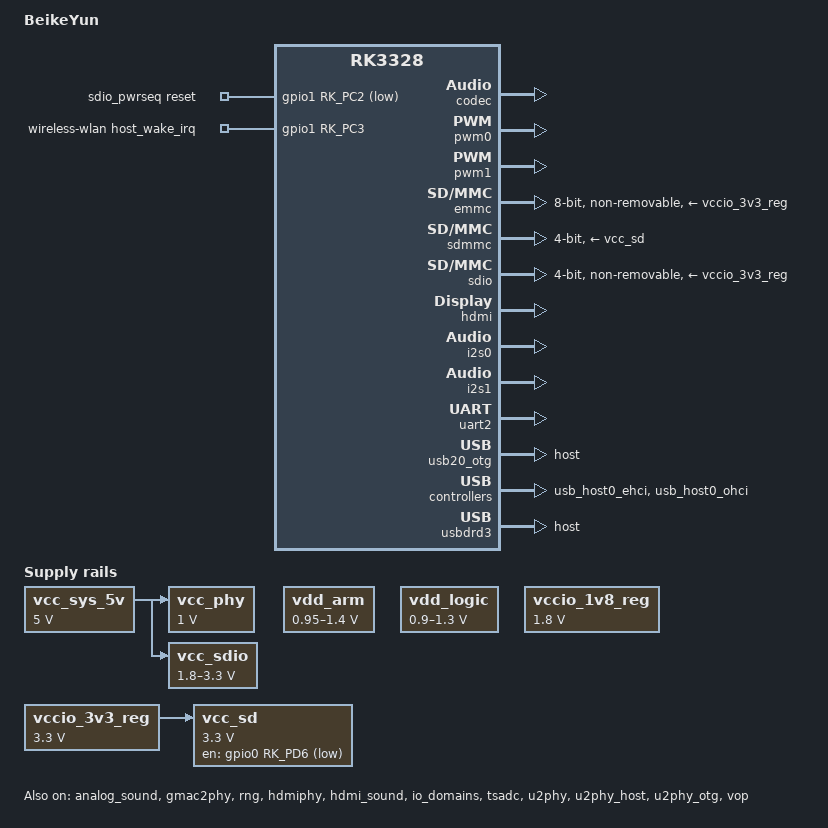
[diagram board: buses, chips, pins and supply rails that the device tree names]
// SPDX-License-Identifier: (GPL-2.0+ OR MIT)
/*
 * Copyright (c) 2017 PINE64
 */

/dts-v1/;
#include "rk3328.dtsi"

/ {
	model = "BeikeYun";
	compatible = "pine64,rock64", "rockchip,rk3328";

 	aliases {
		mmc0 = &emmc;
		mmc1 = &sdmmc;
		// mmc2 = &sdio; // WIFI
	};

	chosen {
		bootargs = "earlycon=uart8250,mmio32,0xff130000";
		stdout-path = "serial2:1500000n8";
	};

	/*
	leds {
		status = "okay";
		compatible = "gpio-leds";
		red-led {
			label = "red_led";
			gpios = <&gpio2 RK_PD2 GPIO_ACTIVE_HIGH>;
			linux,default-trigger = "mmc0";
			default-state = "on";
		};
		white-led {
			label = "white_led";
			gpios = <&gpio2 RK_PC7 GPIO_ACTIVE_HIGH>;
			linux,default-trigger = "none";
			default-state = "on";
		};
	};
	*/

	/*
	gmac_clkin: external-gmac-clock {
		compatible = "fixed-clock";
		clock-frequency = <125000000>;
		clock-output-names = "gmac_clkin";
		#clock-cells = <0>;
	};
	*/

	sdio_pwrseq: sdio-pwrseq {
		compatible = "mmc-pwrseq-simple";
		pinctrl-names = "default";
		pinctrl-0 = <&wifi_enable_h>;
		// pinctrl-0 = <&wifi_en>, <&wifi_host_wake>;
		reset-gpios = <&gpio1 RK_PC2 GPIO_ACTIVE_LOW>;
		// reset-gpios = <0xc7 0x12 0x00>;	// WIFI,poweren_gpio
	};

	/*
	vcc_sys_12v: vcc-sys-12v-regulator {
		compatible = "regulator-fixed";
		regulator-name = "vcc_sys_12v";
		regulator-min-microvolt = <12000000>;
		regulator-max-microvolt = <12000000>;
		regulator-always-on;
		regulator-boot-on;
	};
	*/

	vcc_sys_5v: vcc-sys-5v-regulator {
		compatible = "regulator-fixed";
		regulator-name = "vcc_sys_5v";
		regulator-min-microvolt = <5000000>;
		regulator-max-microvolt = <5000000>;
		regulator-always-on;
		regulator-boot-on;
		// vin-supply = <&vcc_sys_12v>;
	};

	vcc_phy: vcc-phy-regulator {
		compatible = "regulator-fixed";
		regulator-name = "vcc_phy";
		regulator-min-microvolt = <1000000>;
		regulator-max-microvolt = <1000000>;
		regulator-always-on;
		regulator-boot-on;
		vin-supply = <&vcc_sys_5v>;
	};

	vdd_arm: vdd-center {
		compatible = "pwm-regulator";
		rockchip,pwm_id = <0>;
		rockchip,pwm_voltage = <1250000>;
		pwms = <&pwm0 0 5000 1>;
		regulator-name = "vcc_arm";
		regulator-min-microvolt = <950000>;
		regulator-max-microvolt = <1400000>;
		regulator-settling-time-up-us = <250>;
		regulator-ramp-delay = <12500>;
		regulator-always-on;
		regulator-boot-on;
	};

	vdd_logic: vdd-log {
		compatible = "pwm-regulator";
		rockchip,pwm_id = <1>;
		rockchip,pwm_voltage = <1100000>;
		pwms = <&pwm1 0 5000 1>;
		regulator-name = "vcc_log";
		regulator-min-microvolt = <900000>;
		regulator-max-microvolt = <1300000>;
		regulator-settling-time-up-us = <250>;
		regulator-ramp-delay = <12500>;
		regulator-always-on;
		regulator-boot-on;
	};

	vcc_sdio: sdmmcio-regulator {
		compatible = "regulator-gpio";
		gpios = <&grf_gpio 0 GPIO_ACTIVE_HIGH>;
		states = <1800000 0x1>,
			 <3300000 0x0>;
		regulator-name = "vcc_sdio";
		regulator-type = "voltage";
		regulator-min-microvolt = <1800000>;
		regulator-max-microvolt = <3300000>;
		regulator-always-on;
		vin-supply = <&vcc_sys_5v>;
	};

	vcc_sd: sdmmc-regulator {
		compatible = "regulator-fixed";
		gpio = <&gpio0 RK_PD6 GPIO_ACTIVE_LOW>;
		pinctrl-names = "default";
		pinctrl-0 = <&sdmmc0m1_pin>;
		regulator-boot-on;
		regulator-name = "vcc_sd";
		regulator-min-microvolt = <3300000>;
		regulator-max-microvolt = <3300000>;
		vin-supply = <&vccio_3v3_reg>;
	};

	regulators {
		compatible = "simple-bus";
		#address-cells = <1>;
		#size-cells = <0>;

		vccio_1v8_reg: regulator@0 {
			compatible = "regulator-fixed";
			regulator-name = "vccio_1v8";
			regulator-min-microvolt = <1800000>;
			regulator-max-microvolt = <1800000>;
			regulator-always-on;
		};

		vccio_3v3_reg: regulator@1 {
			compatible = "regulator-fixed";
			regulator-name = "vccio_3v3";
			regulator-min-microvolt = <3300000>;
			regulator-max-microvolt = <3300000>;
			regulator-always-on;
		};
	};

	wireless-wlan {
		compatible = "wlan-platdata";
		wifi_chip_type = "rtl8189es";
		// sdio_vref = <1800>;
		rockchip,grf = <&grf>;
		// WIFI,poweren_gpio = <0xc7 0x12 0x00>;
		// WIFI,host_wake_irq = <0xc7 0x13 0x00>;
		// WIFI,poweren_gpio = <&gpio1 RK_PC2 GPIO_ACTIVE_HIGH>;
		WIFI,host_wake_irq = <&gpio1 RK_PC3 GPIO_ACTIVE_HIGH>;
		status = "okay";
	};
};

&analog_sound {
	status = "okay";
};

&codec {
	status = "okay";
};

&cpu0 {
	cpu-supply = <&vdd_arm>;
};

&cpu1 {
	cpu-supply = <&vdd_arm>;
};

&cpu2 {
	cpu-supply = <&vdd_arm>;
};

&cpu3 {
	cpu-supply = <&vdd_arm>;
};

&pwm0 {
	status = "okay";
};

&pwm1 {
	status = "okay";
};

&emmc {
	max-frequency = <150000000>;
	bus-width = <8>;
	cap-mmc-highspeed;
	mmc-hs200-1_8v;
	non-removable;
	num-slots = <1>;
	pinctrl-names = "default";
	pinctrl-0 = <&emmc_clk &emmc_cmd &emmc_bus8>;
	vmmc-supply = <&vccio_3v3_reg>;
	vqmmc-supply = <&vccio_1v8_reg>;
	status = "okay";
};

&sdmmc {
	bus-width = <4>;
	cap-mmc-highspeed;
	cap-sd-highspeed;
	disable-wp;
	max-frequency = <150000000>;
	num-slots = <1>;
	pinctrl-names = "default";
	pinctrl-0 = <&sdmmc0_clk &sdmmc0_cmd &sdmmc0_dectn &sdmmc0_bus4>;
	supports-sd;
	sd-uhs-sdr12;
	sd-uhs-sdr25;
	sd-uhs-sdr50;
	sd-uhs-sdr104;
	vmmc-supply = <&vcc_sd>;
	vqmmc-supply = <&vcc_sdio>;
	status = "okay";
};

/*
// SDIO控制器配置
&sdio {
	status = "okay";
	#address-cells = <1>;
	#size-cells = <0>;
	pinctrl-names = "default", "idle";
	pinctrl-0 = <&sdmmc0_clk &sdmmc0_cmd &sdmmc0_dectn &sdmmc0_bus4>;
	pinctrl-1 = <&sdmmc0_idle>;
	clocks = <&cru HCLK_SDMMC>, <&cru SCLK_SDMMC>;
	clock-names = "biu", "ciu";
	clock-frequency = <100000000>;
	max-frequency = <100000000>;
	bus-width = <4>;
	cap-sd-highspeed;
	cap-sdio-irq;
	keep-power-in-suspend;
	mmc-pwrseq = <&sdio_pwrseq>;
	non-removable;
	no-sd;
	no-mmc;
	supports-sdio;
	ignore-pm-notify;
	supports-UHS_SDR104;
	sdio_vref = <1800>;	// 1.8V

	// RTL8189ETV-CG设备节点
	rtl8189etv: wifi@1 {
		compatible = "realtek,rtl8189es";
		reg = <1>;
		interrupt-parent = <&gpio0>;
		interrupts = <19 IRQ_TYPE_EDGE_RISING>;  // WIFI,host_wake_irq
		interrupt-names = "host-wake";
	};
};
*/

&sdio {
	status = "okay";
	// #address-cells = <1>;
	// #size-cells = <0>;
	pinctrl-names = "default";
	// pinctrl-0 = <&sdmmc0_clk &sdmmc0_cmd &sdmmc0_dectn &sdmmc0_bus4>;
	// pinctrl-0 = <&sdmmc1_bus4 &sdmmc1_cmd &sdmmc1_clk>;
	pinctrl-0 = <&sdmmc1_cmd &sdmmc1_clk &sdmmc1_dectn &sdmmc1_bus4>;
	pinctrl-1 = <&sdmmc1_pins>;
	// clocks = <&cru HCLK_SDMMC>, <&cru SCLK_SDMMC>;
	// clock-names = "biu", "ciu";
	clock-frequency = <100000000>;
	max-frequency = <100000000>;
	bus-width = <4>;
	cap-sd-highspeed;
	cap-sdio-irq;
	disable-wp;
	keep-power-in-suspend;
	// mmc-pwrseq = <&sdio_pwrseq>;
	non-removable;
	num-slots = <1>;
	// no-sd;
	// no-mmc;
	vmmc-supply = <&vccio_3v3_reg>;
	vqmmc-supply = <&vcc_sdio>;
	supports-sdio;
	// ignore-pm-notify;
	sd-uhs-sdr104;
	// sdio_vref = <1800>;  // 1.8V
};

&gmac2phy {
	phy-supply = <&vccio_3v3_reg>;
	clock_in_out = "output";
	assigned-clock-rate = <50000000>;
	assigned-clocks = <&cru SCLK_MAC2PHY>;
	assigned-clock-parents = <&cru SCLK_MAC2PHY_SRC>;
	status = "okay";
};

/*
&gmac2io {
	phy-supply = <&vcc_phy>;
	phy-mode = "rgmii";
	clock_in_out = "input";
	snps,reset-gpio = <&gpio1 RK_PC2 GPIO_ACTIVE_LOW>;
	snps,reset-active-low;
	snps,reset-delays-us = <0 10000 50000>;
	assigned-clocks = <&cru SCLK_MAC2IO>, <&cru SCLK_MAC2IO_EXT>;
	assigned-clock-parents = <&gmac_clkin>, <&gmac_clkin>;
	pinctrl-names = "default";
	pinctrl-0 = <&rgmiim1_pins>;
	tx_delay = <0x26>;
	rx_delay = <0x11>;
	status = "disabled";
};
*/

&gmac2io {
	status = "disabled";
};

&gpu {
	mali-supply = <&vdd_logic>;
};

&rng {
	status = "okay";
};

&crypto {
	status = "disabled";
};

&hdmi {
	status = "okay";
	#sound-dai-cells = <0>;
	ddc-i2c-scl-high-time-ns = <9625>;
	ddc-i2c-scl-low-time-ns = <10000>;
};

&hdmiphy {
	status = "okay";
};

&hdmi_sound {
	status = "okay";
};

&i2s0 {
        status = "okay";
};

&i2s1 {
        status = "okay";
};

&codec {
        status = "okay";
};

&io_domains {
	status = "okay";

	vccio1-supply = <&vccio_3v3_reg>;
	vccio2-supply = <&vccio_1v8_reg>;
	vccio3-supply = <&vccio_3v3_reg>;
	vccio4-supply = <&vccio_1v8_reg>;
	vccio5-supply = <&vccio_3v3_reg>;
	vccio6-supply = <&vccio_3v3_reg>;
	pmuio-supply = <&vccio_3v3_reg>;
};

&pinctrl {

	usb2 {
		usb20_host_drv: usb20-host-drv {
			rockchip,pins = <0 RK_PA2 RK_FUNC_GPIO &pcfg_pull_none>;
		};
	};

	usb3 {
		usb30_host_drv: usb30-host-drv {
			rockchip,pins = <0 RK_PA0 RK_FUNC_GPIO &pcfg_pull_none>;
		};
	};

	sdio-pwrseq {
		wifi_enable_h: wifi-enable-h {
			rockchip,pins = <1 RK_PC2 RK_FUNC_GPIO &pcfg_pull_none>;
		};
	};

	/*
	wifi {
		wifi_en: wifi-en {
			rockchip,pins = <1 RK_PC2 RK_FUNC_GPIO &pcfg_pull_none>;
		};

		wifi_host_wake: wifi-host-wake {
			rockchip,pins = <1 RK_PC3 RK_FUNC_GPIO &pcfg_pull_none_4ma>;
		};
	};
	*/

	/*
	sdmmc0 {
		sdmmc0_clk: sdmmc0-clk {
			rockchip,pins = <1 RK_PA6 1 &pcfg_pull_none>;
		};
		sdmmc0_cmd: sdmmc0-cmd {
			rockchip,pins = <1 RK_PA4 1 &pcfg_pull_up>;
		};
		sdmmc0_dectn: sdmmc0-dectn {
			rockchip,pins = <1 RK_PA5 1 &pcfg_pull_up>;
		};
		sdmmc0_bus4: sdmmc0-bus4 {
			rockchip,pins = <1 RK_PA0 1 &pcfg_pull_up>,
					<1 RK_PA1 1 &pcfg_pull_up>,
					<1 RK_PA2 1 &pcfg_pull_up>,
					<1 RK_PA3 1 &pcfg_pull_up>;
		};
		sdmmc0_idle: sdmmc0-idle {
			rockchip,pins = <1 RK_PA0 RK_FUNC_GPIO &pcfg_pull_none>,
					<1 RK_PA1 RK_FUNC_GPIO &pcfg_pull_none>,
					<1 RK_PA2 RK_FUNC_GPIO &pcfg_pull_none>,
					<1 RK_PA3 RK_FUNC_GPIO &pcfg_pull_none>,
					<1 RK_PA4 RK_FUNC_GPIO &pcfg_pull_none>,
					<1 RK_PA5 RK_FUNC_GPIO &pcfg_pull_none>,
					<1 RK_PA6 RK_FUNC_GPIO &pcfg_pull_none>;
		};
	};
	*/
};

&tsadc {
	rockchip,hw-tshut-mode = <0>;
	rockchip,hw-tshut-polarity = <0>;
	status = "okay";
};

&uart2 {
	status = "okay";
};

&u2phy {
	status = "okay";
};

&u2phy_host {
	status = "okay";
};

&u2phy_otg {
	status = "okay";
};

&usb20_otg {
	dr_mode = "host";
	status = "okay";
};

&usb_host0_ehci {
	status = "okay";
};

&usb_host0_ohci {
	status = "okay";
};

&usbdrd3 {
	dr_mode = "host";
	status = "okay";
};

&vop {
	status = "okay";
};

&vop_mmu {
	status = "okay";
};

&grf_gpio {
	status = "okay";
};

&cpu0_opp_table {

	rockchip,leakage-voltage-sel = <
		1   10    0
		11  254   1
	>;
	nvmem-cells = <&cpu_leakage>;
	nvmem-cell-names = "cpu_leakage";

	opp-408000000 {
		opp-hz = /bits/ 64 <408000000>;
		opp-microvolt = <985000>;
		clock-latency-ns = <40000>;
		opp-suspend;
		status = "disabled";
	};
	opp-600000000 {
		opp-hz = /bits/ 64 <600000000>;
		opp-microvolt = <1025000>;
		clock-latency-ns = <40000>;
	};
	opp-816000000 {
		opp-hz = /bits/ 64 <816000000>;
		opp-microvolt = <1075000>;
		clock-latency-ns = <40000>;
	};
	opp-1008000000 {
		opp-hz = /bits/ 64 <1008000000>;
		opp-microvolt = <1175000>;
		clock-latency-ns = <40000>;
	};
	opp-1200000000 {
		opp-hz = /bits/ 64 <1200000000>;
		opp-microvolt = <1300000>;
		clock-latency-ns = <40000>;
	};
	opp-1296000000 {
		opp-hz = /bits/ 64 <1296000000>;
		opp-microvolt = <1350000>;
		clock-latency-ns = <40000>;
	};
	opp-1392000000 {
		opp-hz = /bits/ 64 <1392000000>;
		opp-microvolt = <1400000>;
		clock-latency-ns = <40000>;
		status = "disabled";
	};
	opp-1512000000 {
		opp-hz = /bits/ 64 <1512000000>;
		opp-microvolt = <1400000>;
		clock-latency-ns = <40000>;
		status = "disabled";
	};
};
